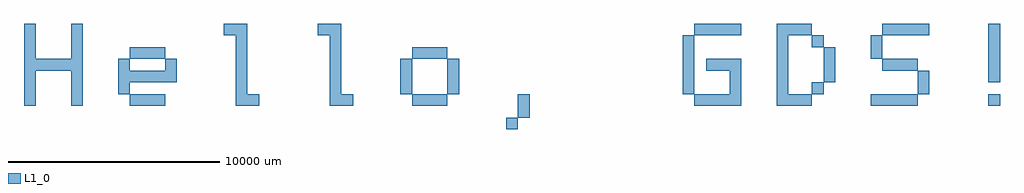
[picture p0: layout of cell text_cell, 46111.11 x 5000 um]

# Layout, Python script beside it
import gdspy

# Parse the user's design specifications
text = "Hello, GDS!"
layer = 1
x = 0
y = 0
height = 5e3  # Convert mm to um

# Define the library and cell for the GDS layout
lib = gdspy.GdsLibrary()
cell = lib.new_cell('text_cell')

# Create the text element
text_element = gdspy.Text(text, size=height, position=(x, y), layer=layer)

# Add the text element to the cell
cell.add(text_element)

# Save the design to a GDS file
lib.write_gds('hello_gds.gds')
